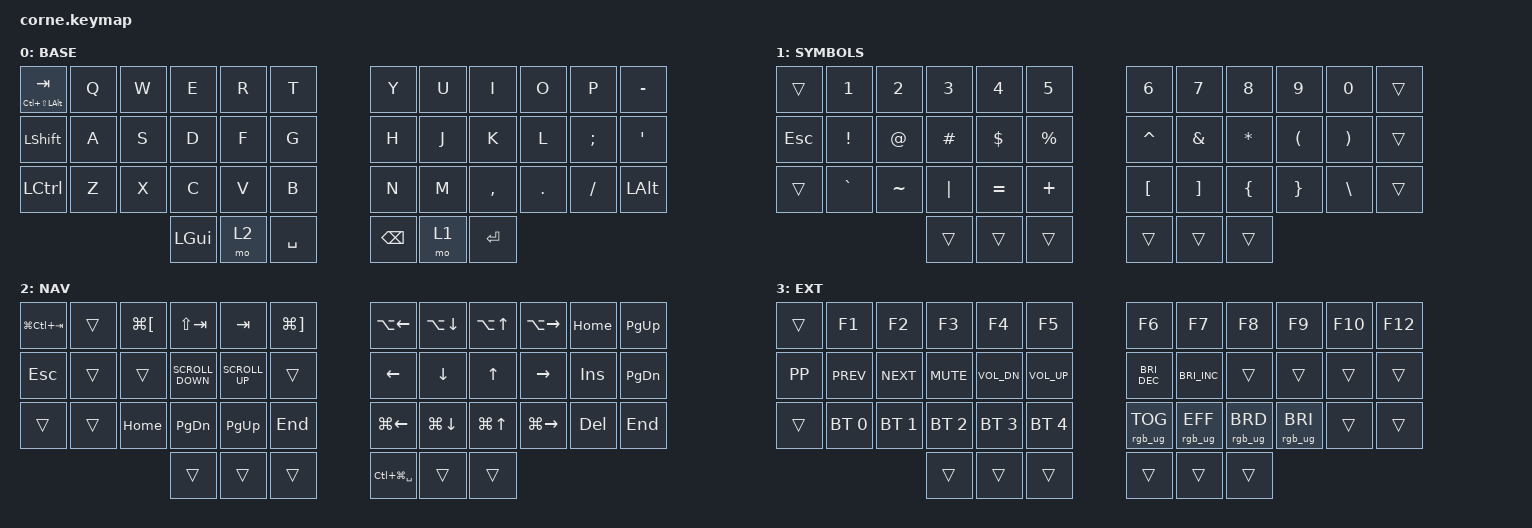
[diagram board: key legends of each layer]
#include <behaviors.dtsi>
#include <dt-bindings/zmk/bt.h>
#include <dt-bindings/zmk/keys.h>
#include <dt-bindings/zmk/rgb.h>

&led_strip {
    chain-length = <27>;

    // chain-length = <27>;
    // 21 backlight + 6 glowlight
};

#define TAPPING_TERM 200

/ {
    behaviors {
        /*
    * td_lock groups locking functions into one key:
    *  - tap once to lock the host
    *  - tap twice to put the host to sleep
    */

        td_lock: tap_dance_lock {
            compatible = "zmk,behavior-tap-dance";
            label = "TAP_DANCE_LOCK";
            #binding-cells = <0>;
            tapping-term-ms = <TAPPING_TERM>;
            bindings = <&kp LG(LC(Q))>, <&kp LG(LA(C_EJECT))>;
        };
    };

    combos {
        compatible = "zmk,combos";

        Clear_BLE_Profile {
            bindings = <&bt BT_CLR>;
            key-positions = <0 38 5>;
        };

        Space {
            bindings = <&kp SPACE>;
            key-positions = <29 28>;
        };

        Enter {
            bindings = <&kp ENTER>;
            key-positions = <17 16>;
        };

        Capslock {
            bindings = <&kp CLCK>;
            key-positions = <5 6>;
        };
    };

    macros {
        git_status: git_status {
            compatible = "zmk,behavior-macro";
            #binding-cells = <0>;
            bindings = <&kp G &kp I &kp T &kp SPACE &kp S &kp T &kp A &kp T &kp U &kp S>;
            label = "GIT_STATUS";
        };

        git_commit_all: git_commit_all {
            compatible = "zmk,behavior-macro";
            #binding-cells = <0>;
            bindings = <&kp G &kp I &kp T &kp SPACE &kp C &kp O &kp M &kp M &kp I &kp T &kp SPACE &kp MINUS &kp A &kp MINUS &kp M &kp SPACE &kp DQT &kp DQT &kp LEFT_ARROW>;
            label = "GIT_COMMIT";
        };
    };

    keymap {
        compatible = "zmk,keymap";

        base_layer {
            label = "BASE";
            bindings = <
&mt LC(LS(LALT)) TAB  &kp Q  &kp W  &kp E         &kp R  &kp T        &kp Y          &kp U  &kp I      &kp O    &kp P      &kp MINUS
&kp LSHIFT            &kp A  &kp S  &kp D         &kp F  &kp G        &kp H          &kp J  &kp K      &kp L    &kp SEMI   &kp SINGLE_QUOTE
&kp LEFT_CONTROL      &kp Z  &kp X  &kp C         &kp V  &kp B        &kp N          &kp M  &kp COMMA  &kp DOT  &kp SLASH  &kp LEFT_ALT
                                    &kp LEFT_GUI  &mo 2  &kp SPACE    &kp BACKSPACE  &mo 1  &kp ENTER
            >;
        };

        symbols_layer {
            label = "SYMBOLS";
            bindings = <
&trans   &kp N1     &kp N2     &kp N3    &kp N4     &kp N5       &kp N6            &kp N7             &kp N8          &kp N9           &kp N0         &trans
&kp ESC  &kp EXCL   &kp AT     &kp HASH  &kp DLLR   &kp PRCNT    &kp CARET         &kp AMPS           &kp ASTERISK    &kp LPAR         &kp RPAR       &trans
&trans   &kp GRAVE  &kp TILDE  &kp PIPE  &kp EQUAL  &kp PLUS     &kp LEFT_BRACKET  &kp RIGHT_BRACKET  &kp LEFT_BRACE  &kp RIGHT_BRACE  &kp BACKSLASH  &trans
                               &trans    &trans     &trans       &trans            &trans             &trans
            >;
        };

        nav_layer {
            label = "NAV";
            bindings = <
&kp LG(LC(TAB))  &trans  &kp LG(LEFT_BRACKET)  &kp LS(TAB)        &kp TAB          &kp LG(RIGHT_BRACKET)    &kp LA(LEFT)       &kp LA(DOWN)  &kp LA(UP)  &kp LA(RIGHT)  &kp HOME    &kp PAGE_UP
&kp ESC          &trans  &trans                &kp K_SCROLL_DOWN  &kp K_SCROLL_UP  &trans                   &kp LEFT           &kp DOWN      &kp UP      &kp RIGHT      &kp INSERT  &kp PAGE_DOWN
&trans           &trans  &kp HOME              &kp PG_DN          &kp PG_UP        &kp END                  &kp LG(LEFT)       &kp LG(DOWN)  &kp LG(UP)  &kp LG(RIGHT)  &kp DEL     &kp END
                                               &trans             &trans           &trans                   &kp LC(LG(SPACE))  &trans        &trans
            >;
        };

        extended_layer {
            label = "EXT";
            bindings = <
&trans    &kp F1        &kp F2        &kp F3        &kp F4        &kp F5          &kp F6                &kp F7                &kp F8           &kp F9           &kp F10  &kp F12
&kp K_PP  &kp K_PREV    &kp K_NEXT    &kp K_MUTE    &kp C_VOL_DN  &kp C_VOL_UP    &kp C_BRIGHTNESS_DEC  &kp C_BRIGHTNESS_INC  &trans           &trans           &trans   &trans
&trans    &bt BT_SEL 0  &bt BT_SEL 1  &bt BT_SEL 2  &bt BT_SEL 3  &bt BT_SEL 4    &rgb_ug RGB_TOG       &rgb_ug RGB_EFF       &rgb_ug RGB_BRD  &rgb_ug RGB_BRI  &trans   &trans
                                      &trans        &trans        &trans          &trans                &trans                &trans
            >;
        };
    };

    conditional_layers {
        compatible = "zmk,conditional-layers";

        Activate_EXT {
            if-layers = <1 2>;
            then-layer = <3>;
        };
    };
};
